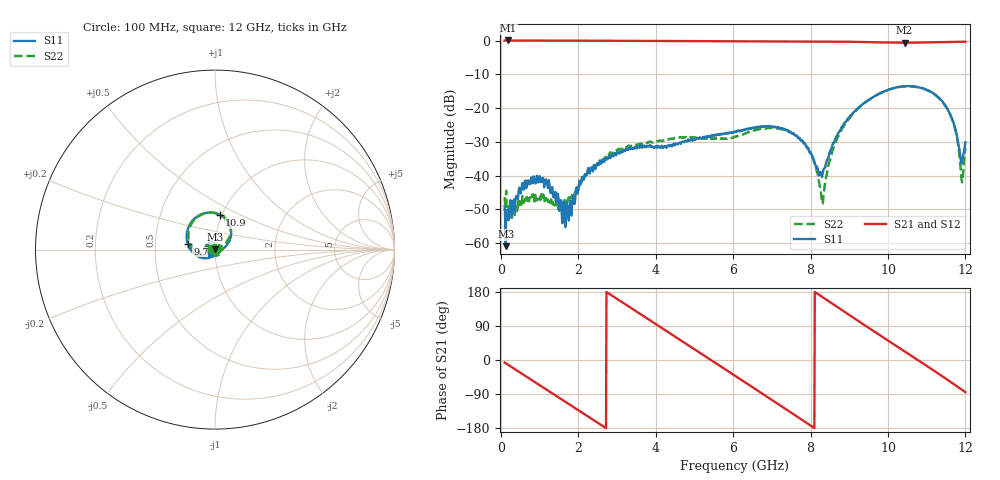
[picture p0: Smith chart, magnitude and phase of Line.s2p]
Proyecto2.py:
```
import numpy as np
import skrf as rf
import cmath
import matplotlib.pyplot as plt

def t_to_s_matrix(t_matrix):
    """
    Convert T-parameters matrix to S-parameters matrix.
    
    Parameters:
    t_matrix (numpy.ndarray): 2x2 T-parameters matrix
    
    Returns:
    numpy.ndarray: 2x2 S-parameters matrix
    """
    t11, t12, t21, t22 = t_matrix[0, 0], t_matrix[0, 1], t_matrix[1, 0], t_matrix[1, 1]
    
    s_matrix = np.zeros((2, 2), dtype=complex)
    s_matrix[0, 0] = t12
    s_matrix[0, 1] = np.linalg.det(t_matrix)
    s_matrix[1, 0] = 1/10
    s_matrix[1, 1] = -t21
    
    return s_matrix/t22

def s_to_t_matrix(s_matrix):
    """
    Convert S-parameters matrix to T-parameters matrix.
    
    Parameters:
    s_matrix (numpy.ndarray): 2x2 S-parameters matrix
    
    Returns:
    numpy.ndarray: 2x2 T-parameters matrix
    """
    s11, s12, s21, s22 = s_matrix[0, 0], s_matrix[0, 1], s_matrix[1, 0], s_matrix[1, 1]
    
    t_matrix = np.zeros((2, 2), dtype=complex)
    t_matrix[0, 1] = s11
    t_matrix[1, 0] = -s22 
    
    t_matrix[0, 0] = -np.linalg.det(s_matrix)  
    t_matrix[1, 1] = 1
    
    return t_matrix / s21

def read_s2p(filename):
    """
    Lee un archivo .s2p y extrae la frecuencia, los parámetros S y la resistencia de referencia.
    
    Args:
        filename (str): Ruta del archivo .s2p.
    
    Returns:
        tuple: 
            - freq (numpy.ndarray): Vector de frecuencias.
            - s_params (numpy.ndarray): Matriz de parámetros S (complejos).
            - z_ref (float): Resistencia de referencia.
    """
    frequencies = []
    s_parameters = []
    z_ref = None  # Inicializa la resistencia de referencia

    try:
        with open(filename, 'r') as file:
            for line in file:
                # Ignora comentarios y líneas vacías
                if line.startswith('!') or line.strip() == '':
                    continue
                
                # Procesa la línea de encabezado
                if line.startswith('#'):
                    header_parts = line.split()
                    try:
                        freq_type = (header_parts[1])
                        param_type = (header_parts[2])
                        result_type = (header_parts[3])
                        z_ref = float(header_parts[5])
                    except (IndexError, ValueError):
                        raise ValueError("El formato de la línea de encabezado no es válido.")
                    continue
                
                # Procesa los datos de los parámetros S
                parts = line.split()
                if len(parts) >= 9:
                    try:
                        freq = float(parts[0])
                        s11 = complex(float(parts[1]), float(parts[2]))
                        s21 = complex(float(parts[3]), float(parts[4]))
                        s12 = complex(float(parts[5]), float(parts[6]))
                        s22 = complex(float(parts[7]), float(parts[8]))
                    except ValueError:
                        raise ValueError("El formato de los datos de parámetros S no es válido.")
                    
                    #Matriz S para determinada frecuencia
                    matriz_s = np.array([[s11, s12], [s21, s22]], dtype=complex)
                    
                    #Guardar la frecuencia y la matriz
                    frequencies.append(freq)
                    s_parameters.append(matriz_s)

        return np.array(s_parameters), np.array(frequencies), z_ref
    
    except FileNotFoundError:
        raise FileNotFoundError(f"No se encontró el archivo: {filename}")
    except Exception as e:
        raise RuntimeError(f"Ocurrió un error al procesar el archivo: {e}")

def resolver_ecuacion_cuadratica_compleja(a, b, c):
    """
    Solve the quadratic equation ax^2 + bx + c = 0 for complex coefficients.
    
    Parameters:
    a, b, c (complex): Coefficients of the quadratic equation
    
    Returns:
    tuple: Solutions x1 and x2
    """
    discriminant = cmath.sqrt(b**2 - 4*a*c)
    x1 = (-b + discriminant) / (2*a)
    x2 = (-b - discriminant) / (2*a)
    
    return x1, x2

def convertir_matriz(matriz):
    """
    Convert a given matrix to a new matrix and a scalar g.
    
    Parameters:
    matriz (numpy.ndarray): Input matrix
    
    Returns:
    tuple: New matrix and scalar g
    """
    new_mat = np.zeros((2, 2), dtype=complex)
    new_mat = matriz 
    
    return new_mat/matriz[1,1], matriz[1,1]

def menor_complejo(c1, c2):
    """
    Determine the smaller of two complex numbers based on their magnitudes.
    
    Parameters:
    c1, c2 (complex): Two complex numbers to compare
    
    Returns:
    complex: The complex number with the smaller magnitude
    """
    return c1 if abs(c1) < abs(c2) else c2

def mayor_complejo(c1, c2):
    """
    Determine the larger of two complex numbers based on their magnitudes.
    
    Parameters:
    c1, c2 (complex): Two complex numbers to compare
    
    Returns:
    complex: The complex number with the larger magnitude
    """
    return c1 if abs(c1) > abs(c2) else c2

def matriz_errorB(g, mat, a_c, b):
    d = mat[0, 0]
    e = mat[0, 1]
    f = mat[1, 0]
    c_a = 1 / a_c
    
    fi = ((a_c * f) - d) / (a_c - e)
    r_ro = (g * (a_c - e)) / (a_c - b)
    bt_alph = (e - b) / (d - (b * f))
    a_alph = (d - (b * f)) / (1 - (c_a * e))
    
    return fi, r_ro, bt_alph, a_alph

def calcular_a(mat, mat_open1, mat_open2, fi, bt_alph, a_c, b):
    d = mat[0, 0]
    e = mat[0, 1]
    f = mat[1, 0]
    
    w1 = mat_open1[0, 0]
    w2 = mat_open2[1, 1]
    
    c_a = 1 / a_c
    
    a1_num = (d - (b * f)) * (b - w1) * (1 + (bt_alph * w2))
    a1_den = (1 - (c_a * e)) * (fi + w2) * ((c_a * w1) - 1)
    
    a1 = cmath.sqrt(a1_num / a1_den) 
    a2 = -1 * cmath.sqrt(a1_num / a1_den)   
    
    return a1, a2

def calcular_aest(b, a_c, mat):
    w1 = mat[0, 0]
    c_a = 1 / a_c
    aest = (b - w1) / (c_a - 1)
    return aest

def calcular_c(a, a_c):
    return a / a_c

def calcular_alpha(mat, a, b, c):
    d = mat[0, 0]
    e = mat[0, 1]
    f = mat[1, 0]
    alph = (d - (b * f)) / (a - (c * e))
    return alph

def calcular_betha(mat, a, b, c):
    e = mat[0, 1]
    betha = (e - b) / (a - (c * e))
    return betha

def calcular_dut(a1, b, c, alph, betha, fi, r_ro, t_med):
    """
    Calculate the S-parameters of the DUT.
    
    Parameters:
    a1, b, c, alph, betha, fi, r_ro (complex): Coefficients
    t_med (numpy.ndarray): Measured T-parameters matrix
    
    Returns:
    numpy.ndarray: T-parameters matrix of the DUT
    """
    t11 = t_med[0, 0]
    t12 = t_med[0, 1]
    t21 = t_med[1, 0]
    t22 = t_med[1, 1]
    
    den = ((c * betha * t11) - (c * alph * t12) - (a1 * betha * t21) + (a1 * alph * t22))
    
    s12_num = r_ro * (a1 - b * c) * (alph - betha * fi) * (t11 - fi * t12 - b * t21 + b * fi * t22)
    s12_den = c * betha * t11 - c * alph * t12 - a1 * betha * t21 + a1 * alph * t22
    
    s11 = (r_ro * (a1 - b * c) * (alph - betha * fi) * (alph * t12 - betha * t11 + b * betha * t21 - b * alph * t22)) / den
    s22 = -(r_ro * (a1 - b * c) * (alph - betha * fi) * (c * fi * t12 - c * t11 + (a1 * (t21 - (fi * t22))))) / den
    s21 = (r_ro * (a1 - b * c) * (alph - betha * fi)) / den
    s12 = ((s12_num / s12_den) + s11 * s22) / s21
    
    return np.array([[s11, s12], [s21, s22]], dtype=complex)

def calcular_dut1(t_med, a1, b, a_c):
    t11 = t_med[0, 0]
    t12 = t_med[0, 1]
    t21 = t_med[1, 0]
    t22 = t_med[1, 1]
    
    s12_num = a_c*(t11-(b*t21))-(b*t22)+t12
    s12_den = a_c*((b*t21)+t22)-(b*t11)-t12
    
    s11 = (a_c*((b*t11)+t12-(b*(b*t21+t22))))/(a1*(a_c*((b*t21)+t22)-(b*t11)-t12))
    s21 = (a_c-b)/(a_c*((b*t21)+t22)-(b*t11)-t12)
    
    s22 = -(a1 * (((a_c ** 2) * t21) + (a_c * (t22 - t11)) - t12)) / (a_c * (a_c * (b * t21 + t22) - (b * t11) - t12))
    s12 = ((s12_num/s12_den)+(s11*s22))/(s21)
    #(((a_c*(t11-(b*t21))-b*t22+t12)/(a_c*(b*t21+t22))-b*t11-t12)+s11*s22)/(a1*(a_c*(b*t21+t22)-b*t11-t12))
    return np.array([[s11, s12], [s21, s22]], dtype=complex)
    
def guardar_s2p(frecuencias, parametros_S, archivo_s2p, z_ref):
    """
    Función para guardar parámetros S en formato Touchstone (.s2p).
    
    Args:
    - frecuencias (list): Lista de frecuencias en GHz.
    - parametros_S (list): Lista de arrays de parámetros S (cada array tiene 2x2 elementos).
    - archivo_s2p (str): Nombre del archivo de salida (.s2p).
    - z_ref (float): Resistencia de referencia.
    """
    
    # Asegúrate de que la lista de parámetros S y las frecuencias tengan la misma longitud
    if len(frecuencias) != len(parametros_S):
        raise ValueError("La longitud de las frecuencias debe ser igual a la longitud de los parámetros S.")
    
    # Abrir el archivo en modo de escritura
    with open(archivo_s2p, 'w') as file:
        # Escribir la cabecera del archivo Touchstone (.s2p)
        file.write("! Touchstone file saved by Python\n")
        file.write(f"# Hz  S RI R:{z_ref}\n")
        
        # Recorrer las frecuencias y parámetros S
        for i in range(len(frecuencias)):
            f = int(frecuencias[i])  # Frecuencia en Hz
            S = parametros_S[i]  # Matriz de parámetros S (2x2)
            
            # Extraer los valores reales e imaginarios de los parámetros S
            S11_real, S11_imag = S[0, 0].real, S[0, 0].imag
            S21_real, S21_imag = S[1, 0].real, S[1, 0].imag
            S12_real, S12_imag = S[0, 1].real, S[0, 1].imag
            S22_real, S22_imag = S[1, 1].real, S[1, 1].imag
            
            # Escribir los parámetros S para la frecuencia actual en el archivo
            file.write(f"{f:.6f}   {S11_real:.6f}   {S11_imag:.6f}   {S21_real:.6f}   {S21_imag:.6f}   "
                       f"{S12_real:.6f}   {S12_imag:.6f}   {S22_real:.6f}   {S22_imag:.6f}\n")
    
    print(f"Archivo {archivo_s2p} guardado exitosamente.")

def plot_magnitude_vs_frequency(frequencies, results1, results2, results3):
    """
    Plot the magnitude of S-parameters vs frequency.
    
    Parameters:
    frequencies (numpy.ndarray): Array of frequencies
    results (list): List of dictionaries containing frequency and S-parameters matrix
    """
    s11_magnitudes = [np.angle(result) for result in results1]
    s21_magnitudes = [np.angle(result) for result in results2]
    s22_magnitudes = [np.angle(result) for result in results3]
    
    plt.figure()
    plt.plot(frequencies, s11_magnitudes, label='a1')
    plt.plot(frequencies, s21_magnitudes, label='a2')
    plt.plot(frequencies, s22_magnitudes, label='a')

    plt.legend()
    plt.grid(True)
    plt.show()
    
# Example usage
s_line_file = 'Line.s2p'
s_thru_file = 'Thru.s2p'
s_openp1_file = 'Open_P1.s2p'
s_openp2_file = 'Open_P2.s2p'
s_med_file = 'ATF-38143_Vgs_-0.55_Vds_2.s2p'

s_line, frequencies, z_ref = read_s2p(s_line_file)
s_thru, _, _ = read_s2p(s_thru_file)
s_openp1, _, _ = read_s2p(s_openp1_file)
s_openp2, _, _ = read_s2p(s_openp2_file)
s_med, _, _ = read_s2p(s_med_file)

results = []
a1_plot = []
a2_plot = []
a_plot = []
b_plot = []
a_c_plot = []   

for i in range(len(s_line)):
    t_line = s_to_t_matrix(s_line[i]) #Convertir matriz S a matriz T del line
    t_thru = s_to_t_matrix(s_thru[i]) #Convertir matriz S a matriz T del thru
    
    t_thru_inv = np.linalg.inv(t_thru) #Inversa de la matriz T del thru
    
    t_tot = np.dot(t_line, t_thru_inv) #Multiplicación de las matrices T del line y la inversa del thru
    
    t_med = s_to_t_matrix(s_med[i]) #Convertir matriz S a matriz T del DUT

    #x^2*t21 + y*(t22-t11) - t12*z = 0
    x = t_tot[1, 0]
    y = t_tot[1, 1] - t_tot[0, 0]
    z = -t_tot[0, 1]
    
    #Resuelve con fórmula general la ecuación cuadrática
    x1, x2 = resolver_ecuacion_cuadratica_compleja(x, y, z)
    
    #El valor menor se pasa a b y el mayor a a_c
    b = menor_complejo(x1, x2)
    a_c = mayor_complejo(x1, x2) 
        
    #Convierte la matriz T1 del thru a una nueva matriz y un escalar g
    #                  |d e| 
    #   new_t_thru = g |f 1|
    new_t_thru, g = convertir_matriz(t_thru) 
    
    #Calcula fi, r22_ro22, beta/alpha y a*alpha
    fi, r_ro, bt_alph, a_alph = matriz_errorB(g, new_t_thru, a_c, b)
    w1 = s_openp1[i][0, 0]
    w2 = s_openp2[i][1, 1]
    #Calcula los dos posibles valores de a
    a1, a2 = calcular_a(new_t_thru, s_openp1[i], s_openp2[i], fi, bt_alph, a_c, b)

    aest = calcular_aest(b, a_c, s_openp1[i])
    
    a1_aux = aest - a1
    a2_aux = aest - a2
    
    if abs(a1_aux) < abs(a2_aux):
        a = a1
    else:
        a = a2  
    a1_plot.append(a1)
    a2_plot.append(a2)
    a_plot.append(a)
    
    #Calcula el valor de C
    c = calcular_c(a, a_c)
    
    #Calcula el valor de alpha y betha
    alph = calcular_alpha(new_t_thru, a, b, c)
    betha = calcular_betha(new_t_thru, a, b, c)
    
    Ta = np.array([[a, b], [c, 1]], dtype=complex)
    Tb = np.array([[alph, betha], [fi, 1]], dtype=complex)
    
    Ta_inv = np.linalg.inv(Ta)
    Tb_inv = np.linalg.inv(Tb)
    
    T_aux = np.dot(Ta_inv, t_med)
    
    T_dut = (1/r_ro) * np.dot(T_aux, Tb_inv)
    s_dut = t_to_s_matrix(T_dut)
    
    #Calcula los parámetros S del DUT
    #s_dut = calcular_dut(a, b, c, alph, betha, fi, r_ro, t_med)
    #s_dut = calcular_dut1(t_med, a, b, a_c)
    
    results.append({
        'frequency': frequencies[i],
        's_dut': s_dut
    })

# Save the results to a new s2p file
output_file = 'DUT9.s2p'
guardar_s2p(frequencies, [result['s_dut'] for result in results], output_file, z_ref)
print(a_alph)
print(a_c)
print(a)
print(alph)
print(b)
print(betha)
print(bt_alph)
print(c)
print(new_t_thru[0, 0])
print(new_t_thru[0, 1])
print(new_t_thru[1, 0])
print(g)
print(fi)
print(r_ro)
print(w1)
print(w2)

plot_magnitude_vs_frequency(frequencies, a1_plot, a2_plot, a_plot)
# Print the results
#for result in results:
#    print(f"Frequency: {result['frequency']}")
#    print("S-parameters DUT matrix:\n", result['s_dut'])
```
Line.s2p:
!Agilent Technologies,N5227A,US51270349,A.09.80.20
!Agilent N5227A: A.09.80.20
!Date: Saturday, September 07, 2024 04:36:31
!Correction: S11(Full 2 Port(1,2))
!S21(Full 2 Port(1,2))
!S12(Full 2 Port(1,2))
!S22(Full 2 Port(1,2))
!S2P File: Measurements: S11, S21, S12, S22:
# Hz S  RI  R 50
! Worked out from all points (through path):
!   1191 points, 100 MHz to 12 GHz, reference 50 ohm
!   highest |S21| = 0.02 dB at 200 MHz (marker M1); lowest = -0.6 dB at 10.43 GHz (marker M2)
!   group delay of S21, straight-line fit = 186 ps
!   lowest |S11| = -60.9 dB at 130 MHz (marker M3), VSWR 1.00, Z = 50 + j0.0876 ohm
!   |S11| at or under -10 dB: start of sweep to end of sweep
!   |S22| runs from -52.4 to -13.6 dB; largest |S21 - S12| = 0.0031
!   S11 on the Smith chart (normalised r, x): 100 MHz: 0.99, -0.00; 9.71 GHz: 0.73, +0.05; 10.9 GHz: 0.97, +0.39; 12 GHz: 0.95, -0.04
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1e8  -0.00283 -0.00204  0.9925 -0.1171  0.9955 -0.1179  -0.00386 -0.00285
1.3e8  -0.000202 0.000877  0.9888 -0.1492  0.9905 -0.1497  -0.00298 0.00131
2e8  0.00189 0.00108  0.9751 -0.2311  0.976 -0.2318  -0.00294 0.000268
2.69e9  0.00687 0.0157  -0.993 -0.0359  -0.994 -0.0356  -0.00884 0.0152
4.21e9  0.0154 -0.0215  0.1519 0.9731  0.1521 0.9741  0.0225 0.024
6.05e9  -0.0438 -0.00954  0.7305 -0.647  0.7311 -0.648  -0.0132 -0.0351
8.02e9  0.00754 0.0193  -0.9638 -0.0979  -0.9649 -0.0978  0.00629 0.0199
9.71e9  -0.1526 0.0338  0.3094 0.8885  0.3105 0.8887  -0.1461 0.0548
1.043e10  -0.0913 0.1893  0.8563 0.3582  0.8578 0.3587  -0.0752 0.1945
1.09e10  0.026 0.1941  0.9223 -0.141  0.9229 -0.1413  0.036 0.1907
1.2e10  -0.0233 -0.0205  0.0856 -0.9561  0.0852 -0.957  -0.0245 0.00741
